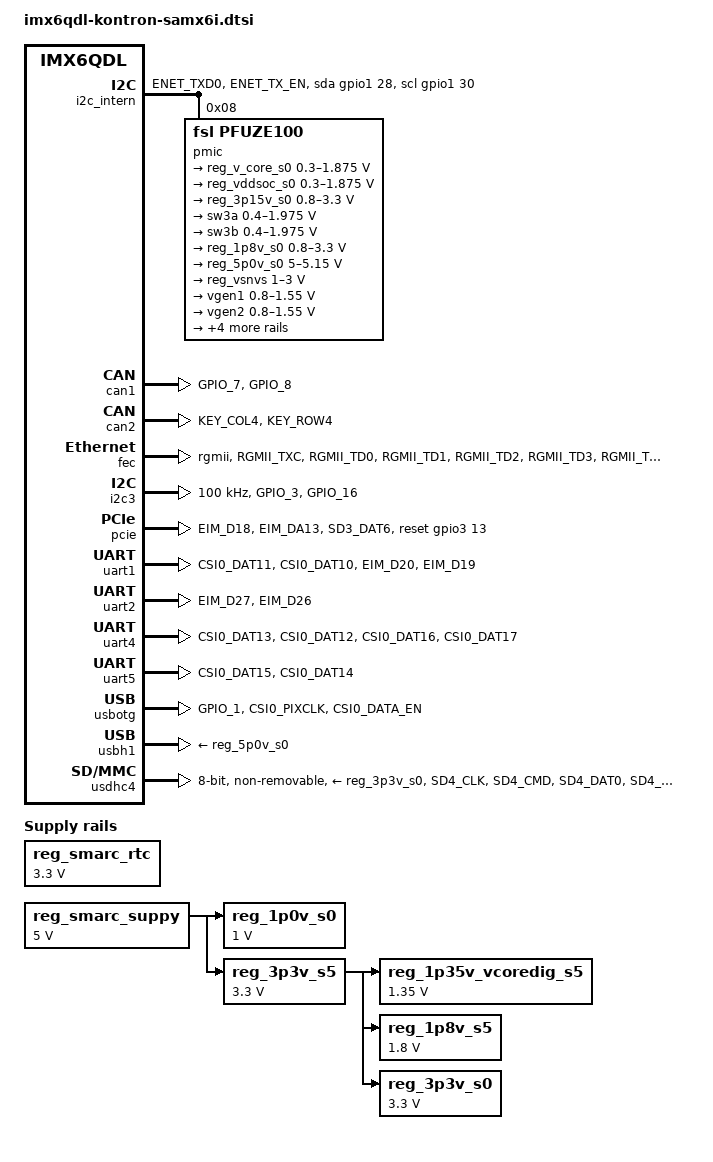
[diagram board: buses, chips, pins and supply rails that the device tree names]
// SPDX-License-Identifier: GPL-2.0 OR X11
/*
 * Copyright 2017 (C) Priit Laes <plaes@plaes.org>
 * Copyright 2018 (C) Pengutronix, Michael Grzeschik <mgr@pengutronix.de>
 * Copyright 2019 (C) Pengutronix, Marco Felsch <kernel@pengutronix.de>
 *
 * Based on initial work by Nikita Yushchenko <nyushchenko at dev.rtsoft.ru>
 */

#include <dt-bindings/gpio/gpio.h>

/ {
	reg_1p0v_s0: regulator-1p0v-s0 {
		compatible = "regulator-fixed";
		regulator-name = "V_1V0_S0";
		regulator-min-microvolt = <1000000>;
		regulator-max-microvolt = <1000000>;
		regulator-always-on;
		regulator-boot-on;
		vin-supply = <&reg_smarc_suppy>;
	};

	reg_1p35v_vcoredig_s5: regulator-1p35v-vcoredig-s5 {
		compatible = "regulator-fixed";
		regulator-name = "V_1V35_VCOREDIG_S5";
		regulator-min-microvolt = <1350000>;
		regulator-max-microvolt = <1350000>;
		regulator-always-on;
		regulator-boot-on;
		vin-supply = <&reg_3p3v_s5>;
	};

	reg_1p8v_s5: regulator-1p8v-s5 {
		compatible = "regulator-fixed";
		regulator-name = "V_1V8_S5";
		regulator-min-microvolt = <1800000>;
		regulator-max-microvolt = <1800000>;
		regulator-always-on;
		regulator-boot-on;
		vin-supply = <&reg_3p3v_s5>;
	};

	reg_3p3v_s0: regulator-3p3v-s0 {
		compatible = "regulator-fixed";
		regulator-name = "V_3V3_S0";
		regulator-min-microvolt = <3300000>;
		regulator-max-microvolt = <3300000>;
		regulator-always-on;
		regulator-boot-on;
		vin-supply = <&reg_3p3v_s5>;
	};

	reg_3p3v_s0: regulator-3p3v-s0 {
		compatible = "regulator-fixed";
		regulator-name = "V_3V3_S0";
		regulator-min-microvolt = <3300000>;
		regulator-max-microvolt = <3300000>;
		regulator-always-on;
		regulator-boot-on;
		vin-supply = <&reg_3p3v_s5>;
	};

	reg_3p3v_s5: regulator-3p3v-s5 {
		compatible = "regulator-fixed";
		regulator-name = "V_3V3_S5";
		regulator-min-microvolt = <3300000>;
		regulator-max-microvolt = <3300000>;
		regulator-always-on;
		regulator-boot-on;
		vin-supply = <&reg_smarc_suppy>;
	};

	reg_smarc_rtc: regulator-smarc-rtc {
		compatible = "regulator-fixed";
		regulator-name = "V_IN_RTC_BATT";
		regulator-min-microvolt = <3300000>;
		regulator-max-microvolt = <3300000>;
		regulator-always-on;
		regulator-boot-on;
	};

	/* Module supply range can be 3.00V ... 5.25V */
	reg_smarc_suppy: regulator-smarc-supply {
		compatible = "regulator-fixed";
		regulator-name = "V_IN_WIDE";
		regulator-min-microvolt = <5000000>;
		regulator-max-microvolt = <5000000>;
		regulator-always-on;
		regulator-boot-on;
	};

	i2c_intern: i2c-gpio-intern {
		compatible = "i2c-gpio";
		pinctrl-names = "default";
		pinctrl-0 = <&pinctrl_i2c_gpio_intern>;
		sda-gpios = <&gpio1 28 (GPIO_ACTIVE_HIGH | GPIO_OPEN_DRAIN)>;
		scl-gpios = <&gpio1 30 (GPIO_ACTIVE_HIGH | GPIO_OPEN_DRAIN)>;
		i2c-gpio,delay-us = <2>; /* ~100 kHz */
		#address-cells = <1>;
		#size-cells = <0>;
	};
};

/* CAN0 */
&can1 {
	pinctrl-names = "default";
	pinctrl-0 = <&pinctrl_flexcan1>;
};

/* CAN1 */
&can2 {
	pinctrl-names = "default";
	pinctrl-0 = <&pinctrl_flexcan2>;
};

/* GBE */
&fec {
	pinctrl-names = "default";
	pinctrl-0 = <&pinctrl_enet>;
	phy-mode = "rgmii";
	phy-reset-gpios = <&gpio1 25 GPIO_ACTIVE_LOW>;
};

&i2c_intern {
	pmic@8 {
		compatible = "fsl,pfuze100";
		reg = <0x08>;

		regulators {
			reg_v_core_s0: sw1ab {
				regulator-name = "V_CORE_S0";
				regulator-min-microvolt = <300000>;
				regulator-max-microvolt = <1875000>;
				regulator-boot-on;
				regulator-always-on;
			};

			reg_vddsoc_s0: sw1c {
				regulator-name = "V_VDDSOC_S0";
				regulator-min-microvolt = <300000>;
				regulator-max-microvolt = <1875000>;
				regulator-boot-on;
				regulator-always-on;
			};

			reg_3p15v_s0: sw2 {
				regulator-name = "V_3V15_S0";
				regulator-min-microvolt = <800000>;
				regulator-max-microvolt = <3300000>;
				regulator-boot-on;
				regulator-always-on;
			};

			/* sw3a/b is used in dual mode, but driver does not
			 * support it. Although, there's no need to control
			 * DDR power - so just leaving dummy entries for sw3a
			 * and sw3b for now.
			 */
			sw3a {
				regulator-min-microvolt = <400000>;
				regulator-max-microvolt = <1975000>;
				regulator-boot-on;
				regulator-always-on;
			};

			sw3b {
				regulator-min-microvolt = <400000>;
				regulator-max-microvolt = <1975000>;
				regulator-boot-on;
				regulator-always-on;
			};

			reg_1p8v_s0: sw4 {
				regulator-name = "V_1V8_S0";
				regulator-min-microvolt = <800000>;
				regulator-max-microvolt = <3300000>;
				regulator-boot-on;
				regulator-always-on;
			};

			/* Regulator for USB */
			reg_5p0v_s0: swbst {
				regulator-name = "V_5V0_S0";
				regulator-min-microvolt = <5000000>;
				regulator-max-microvolt = <5150000>;
				regulator-boot-on;
			};

			reg_vsnvs: vsnvs {
				regulator-min-microvolt = <1000000>;
				regulator-max-microvolt = <3000000>;
				regulator-boot-on;
				regulator-always-on;
			};

			reg_vrefddr: vrefddr {
				regulator-boot-on;
				regulator-always-on;
			};

			/*
			 * Per schematics, of all VGEN's, only VGEN5 has some
			 * usage ... but even that - over DNI resistor
			 */
			vgen1 {
				regulator-min-microvolt = <800000>;
				regulator-max-microvolt = <1550000>;
			};

			vgen2 {
				regulator-min-microvolt = <800000>;
				regulator-max-microvolt = <1550000>;
			};

			vgen3 {
				regulator-min-microvolt = <1800000>;
				regulator-max-microvolt = <3300000>;
			};

			vgen4 {
				regulator-min-microvolt = <1800000>;
				regulator-max-microvolt = <3300000>;
			};

			reg_2p5v_s0: vgen5 {
				regulator-name = "V_2V5_S0";
				regulator-min-microvolt = <1800000>;
				regulator-max-microvolt = <3300000>;
			};

			vgen6 {
				regulator-min-microvolt = <1800000>;
				regulator-max-microvolt = <3300000>;
			};
		};
	};
};

/* I2C_PM */
&i2c3 {
	clock-frequency = <100000>;
	pinctrl-names = "default";
	pinctrl-0 = <&pinctrl_i2c3>;
};

&iomuxc {
	pinctrl_flexcan1: flexcan1grp {
		fsl,pins = <
			MX6QDL_PAD_GPIO_7__FLEXCAN1_TX 0x1b0b0
			MX6QDL_PAD_GPIO_8__FLEXCAN1_RX 0x1b0b0
		>;
	};

	pinctrl_flexcan2: flexcan2grp {
		fsl,pins = <
			MX6QDL_PAD_KEY_COL4__FLEXCAN2_TX 0x1b0b0
			MX6QDL_PAD_KEY_ROW4__FLEXCAN2_RX 0x1b0b0
		>;
	};

	pinctrl_enet: enetgrp {
		fsl,pins = <
			MX6QDL_PAD_RGMII_TXC__RGMII_TXC       0x1b0b0
			MX6QDL_PAD_RGMII_TD0__RGMII_TD0       0x1b0b0
			MX6QDL_PAD_RGMII_TD1__RGMII_TD1       0x1b0b0
			MX6QDL_PAD_RGMII_TD2__RGMII_TD2       0x1b0b0
			MX6QDL_PAD_RGMII_TD3__RGMII_TD3       0x1b0b0
			MX6QDL_PAD_RGMII_TX_CTL__RGMII_TX_CTL 0x1b0b0
			MX6QDL_PAD_RGMII_RXC__RGMII_RXC       0x1b0b0
			MX6QDL_PAD_RGMII_RD0__RGMII_RD0       0x1b0b0
			MX6QDL_PAD_RGMII_RD1__RGMII_RD1       0x1b0b0
			MX6QDL_PAD_RGMII_RD2__RGMII_RD2       0x1b0b0
			MX6QDL_PAD_RGMII_RD3__RGMII_RD3       0x1b0b0
			MX6QDL_PAD_RGMII_RX_CTL__RGMII_RX_CTL 0x1b0b0

			MX6QDL_PAD_ENET_MDIO__ENET_MDIO       0x1b0b0
			MX6QDL_PAD_ENET_MDC__ENET_MDC         0x1b0b0
			MX6QDL_PAD_ENET_REF_CLK__ENET_TX_CLK  0x1b0b0
			MX6QDL_PAD_ENET_CRS_DV__GPIO1_IO25    0x1b0b0 /* RST_GBE0_PHY# */
		>;
	};

	pinctrl_i2c_gpio_intern: i2c-gpiointerngrp {
		fsl,pins = <
			MX6QDL_PAD_ENET_TXD0__GPIO1_IO30  0x1b0b0 /* SCL */
			MX6QDL_PAD_ENET_TX_EN__GPIO1_IO28 0x1b0b0 /* SDA */
		>;
	};

	pinctrl_i2c3: i2c3grp {
		fsl,pins = <
			MX6QDL_PAD_GPIO_3__I2C3_SCL		0x4001b8b1
			MX6QDL_PAD_GPIO_16__I2C3_SDA		0x4001b8b1
		>;
	};

	pinctrl_pcie: pciegrp {
		fsl,pins = <
			MX6QDL_PAD_EIM_D18__GPIO3_IO18	0x1b0b0 /* PCI_A_PRSNT# */
			MX6QDL_PAD_EIM_DA13__GPIO3_IO13 0x1b0b0 /* RST_PCIE_A#  */
			MX6QDL_PAD_SD3_DAT6__GPIO6_IO18 0x1b0b0 /* PCIE_WAKE#   */
		>;
	};

	pinctrl_uart1: uart1grp {
		fsl,pins = <
			MX6QDL_PAD_CSI0_DAT11__UART1_RX_DATA 0x1b0b1
			MX6QDL_PAD_CSI0_DAT10__UART1_TX_DATA 0x1b0b1
			MX6QDL_PAD_EIM_D20__UART1_RTS_B 0x1b0b1
			MX6QDL_PAD_EIM_D19__UART1_CTS_B 0x1b0b1
		>;
	};

	pinctrl_uart2: uart2grp {
		fsl,pins = <
			MX6QDL_PAD_EIM_D27__UART2_RX_DATA 0x1b0b1
			MX6QDL_PAD_EIM_D26__UART2_TX_DATA 0x1b0b1
		>;
	};

	pinctrl_uart4: uart4grp {
		fsl,pins = <
			MX6QDL_PAD_CSI0_DAT13__UART4_RX_DATA 0x1b0b1
			MX6QDL_PAD_CSI0_DAT12__UART4_TX_DATA 0x1b0b1
			MX6QDL_PAD_CSI0_DAT16__UART4_RTS_B 0x1b0b1
			MX6QDL_PAD_CSI0_DAT17__UART4_CTS_B 0x1b0b1
		>;
	};

	pinctrl_uart5: uart5grp {
		fsl,pins = <
			MX6QDL_PAD_CSI0_DAT15__UART5_RX_DATA 0x1b0b1
			MX6QDL_PAD_CSI0_DAT14__UART5_TX_DATA 0x1b0b1
		>;
	};

	pinctrl_usbotg: usbotggrp {
		fsl,pins = <
			MX6QDL_PAD_GPIO_1__USB_OTG_ID 0x1f8b0
			/* power, oc muxed but not used by the driver */
			MX6QDL_PAD_CSI0_PIXCLK__GPIO5_IO18	0x1b0b0 /* USB power */
			MX6QDL_PAD_CSI0_DATA_EN__GPIO5_IO20	0x1b0b0 /* USB OC */
		>;
	};

	pinctrl_usdhc4: usdhc4grp {
		fsl,pins = <
			MX6QDL_PAD_SD4_CLK__SD4_CLK 0x17059
			MX6QDL_PAD_SD4_CMD__SD4_CMD 0x17059
			MX6QDL_PAD_SD4_DAT0__SD4_DATA0 0x17059
			MX6QDL_PAD_SD4_DAT1__SD4_DATA1 0x17059
			MX6QDL_PAD_SD4_DAT2__SD4_DATA2 0x17059
			MX6QDL_PAD_SD4_DAT3__SD4_DATA3 0x17059
			MX6QDL_PAD_SD4_DAT4__SD4_DATA4 0x17059
			MX6QDL_PAD_SD4_DAT5__SD4_DATA5 0x17059
			MX6QDL_PAD_SD4_DAT6__SD4_DATA6 0x17059
			MX6QDL_PAD_SD4_DAT7__SD4_DATA7 0x17059
		>;
	};
};

&pcie {
	pinctrl-names = "default";
	pinctrl-0 = <&pinctrl_pcie>;
	wake-up-gpio = <&gpio6 18 GPIO_ACTIVE_HIGH>;
	reset-gpio = <&gpio3 13 GPIO_ACTIVE_HIGH>;
};

/* SER0 */
&uart1 {
	pinctrl-names = "default";
	pinctrl-0 = <&pinctrl_uart1>;
	uart-has-rtscts;
};

/* SER1 */
&uart2 {
	pinctrl-names = "default";
	pinctrl-0 = <&pinctrl_uart2>;
};

/* SER2 */
&uart4 {
	pinctrl-names = "default";
	pinctrl-0 = <&pinctrl_uart4>;
	uart-has-rtscts;
};

/* SER3 */
&uart5 {
	pinctrl-names = "default";
	pinctrl-0 = <&pinctrl_uart5>;
};

/* USB0 */
&usbotg {
	/*
	 * no 'imx6-usb-charger-detection'
	 * since USB_OTG_CHD_B pin is not wired
	 */
	pinctrl-names = "default";
	pinctrl-0 = <&pinctrl_usbotg>;
};

/* USB1/2 via hub */
&usbh1 {
	vbus-supply = <&reg_5p0v_s0>;
};

/* SDMMC */
&usdhc4 {
	/* Internal eMMC, optional on some boards */
	pinctrl-names = "default";
	pinctrl-0 = <&pinctrl_usdhc4>;
	bus-width = <8>;
	no-sdio;
	no-sd;
	non-removable;
	vmmc-supply = <&reg_3p3v_s0>;
	vqmmc-supply = <&reg_1p8v_s0>;
};
